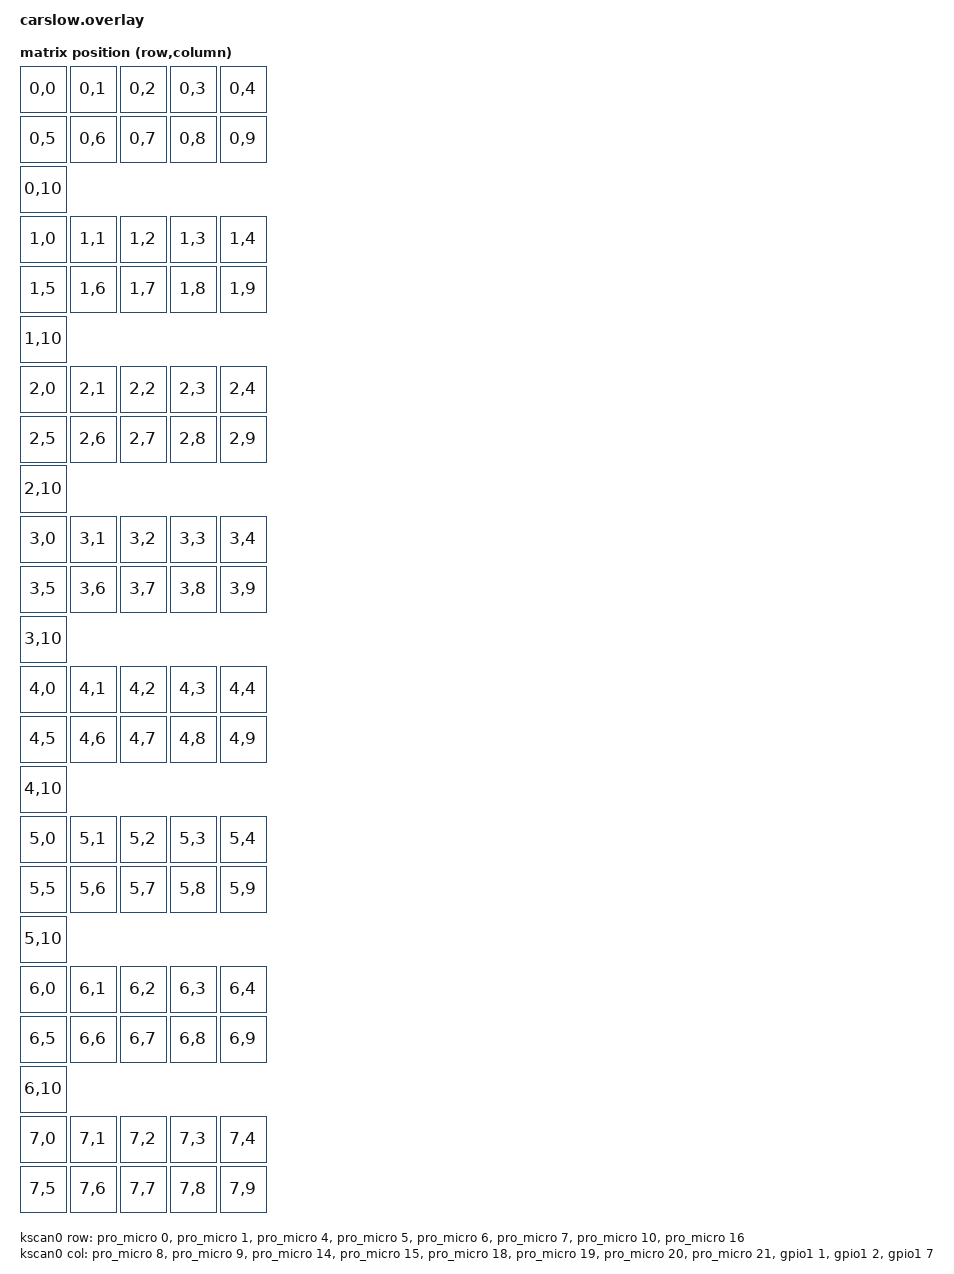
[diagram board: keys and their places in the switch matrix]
#include <dt-bindings/zmk/matrix_transform.h>
#include "carslow-layouts.dtsi"

/ {
    chosen {
        zmk,kscan = &kscan0;
        zmk,physical-layout = &physical_layout0;
    };

    kscan0: kscan {
        compatible = "zmk,kscan-gpio-matrix";

        wakeup-source;

        /*
         * ROW -> SWITCH -> DIODE -> COLUMN
         *
         * Para 1N4148:
         * faixa do diodo (catodo) voltada para a COLUMN.
         */
        diode-direction = "row2col";

        /*
         * ROWS
         *
         * Outputs da matriz.
         *
         * R0 = D0  / P0.08
         * R1 = D1  / P0.06
         * R2 = D4  / P0.22
         * R3 = D5  / P0.24
         * R4 = D6  / P1.00
         * R5 = D7  / P0.11
         * R6 = D10 / P0.09
         * R7 = D16 / P0.10
         */
        row-gpios
            = <&pro_micro 0  GPIO_ACTIVE_HIGH>
            , <&pro_micro 1  GPIO_ACTIVE_HIGH>
            , <&pro_micro 4  GPIO_ACTIVE_HIGH>
            , <&pro_micro 5  GPIO_ACTIVE_HIGH>
            , <&pro_micro 6  GPIO_ACTIVE_HIGH>
            , <&pro_micro 7  GPIO_ACTIVE_HIGH>
            , <&pro_micro 10 GPIO_ACTIVE_HIGH>
            , <&pro_micro 16 GPIO_ACTIVE_HIGH>
            ;

        /*
         * COLUMNS
         *
         * Inputs da matriz com pull-down.
         *
         * C0  = D8    / P1.04
         * C1  = D9    / P1.06
         * C2  = D14   / P1.11
         * C3  = D15   / P1.13
         * C4  = D18   / P1.15
         * C5  = D19   / P0.02
         * C6  = D20   / P0.29
         * C7  = D21   / P0.31
         * C8  = P1.01 / pad extra
         * C9  = P1.02 / pad extra
         * C10 = P1.07 / pad extra
         */
        col-gpios
            = <&pro_micro 8  (GPIO_ACTIVE_HIGH | GPIO_PULL_DOWN)>
            , <&pro_micro 9  (GPIO_ACTIVE_HIGH | GPIO_PULL_DOWN)>
            , <&pro_micro 14 (GPIO_ACTIVE_HIGH | GPIO_PULL_DOWN)>
            , <&pro_micro 15 (GPIO_ACTIVE_HIGH | GPIO_PULL_DOWN)>
            , <&pro_micro 18 (GPIO_ACTIVE_HIGH | GPIO_PULL_DOWN)>
            , <&pro_micro 19 (GPIO_ACTIVE_HIGH | GPIO_PULL_DOWN)>
            , <&pro_micro 20 (GPIO_ACTIVE_HIGH | GPIO_PULL_DOWN)>
            , <&pro_micro 21 (GPIO_ACTIVE_HIGH | GPIO_PULL_DOWN)>
            , <&gpio1 1      (GPIO_ACTIVE_HIGH | GPIO_PULL_DOWN)>
            , <&gpio1 2      (GPIO_ACTIVE_HIGH | GPIO_PULL_DOWN)>
            , <&gpio1 7      (GPIO_ACTIVE_HIGH | GPIO_PULL_DOWN)>
            ;
    };

    /*
     * A matriz elétrica possui:
     *
     *   8 rows × 11 columns = 88 posições
     *
     * Somente 87 posições são utilizadas.
     * RC(7,10) não existe fisicamente.
     *
     * A ordem deste map deve ser exatamente igual à ordem:
     *
     *   physical_layout0.keys
     *   carslow.keymap bindings
     */
    default_transform: keymap_transform {
        compatible = "zmk,matrix-transform";

        rows = <8>;
        columns = <11>;

        map = <
            /* 00..10 */
            RC(0,0) RC(0,1) RC(0,2) RC(0,3) RC(0,4)
            RC(0,5) RC(0,6) RC(0,7) RC(0,8) RC(0,9)
            RC(0,10)

            /* 11..21 */
            RC(1,0) RC(1,1) RC(1,2) RC(1,3) RC(1,4)
            RC(1,5) RC(1,6) RC(1,7) RC(1,8) RC(1,9)
            RC(1,10)

            /* 22..32 */
            RC(2,0) RC(2,1) RC(2,2) RC(2,3) RC(2,4)
            RC(2,5) RC(2,6) RC(2,7) RC(2,8) RC(2,9)
            RC(2,10)

            /* 33..43 */
            RC(3,0) RC(3,1) RC(3,2) RC(3,3) RC(3,4)
            RC(3,5) RC(3,6) RC(3,7) RC(3,8) RC(3,9)
            RC(3,10)

            /* 44..54 */
            RC(4,0) RC(4,1) RC(4,2) RC(4,3) RC(4,4)
            RC(4,5) RC(4,6) RC(4,7) RC(4,8) RC(4,9)
            RC(4,10)

            /* 55..65 */
            RC(5,0) RC(5,1) RC(5,2) RC(5,3) RC(5,4)
            RC(5,5) RC(5,6) RC(5,7) RC(5,8) RC(5,9)
            RC(5,10)

            /* 66..76 */
            RC(6,0) RC(6,1) RC(6,2) RC(6,3) RC(6,4)
            RC(6,5) RC(6,6) RC(6,7) RC(6,8) RC(6,9)
            RC(6,10)

            /* 77..86 */
            RC(7,0) RC(7,1) RC(7,2) RC(7,3) RC(7,4)
            RC(7,5) RC(7,6) RC(7,7) RC(7,8) RC(7,9)
        >;
    };
};

/*
 * physical_layout0 é DECLARADO em carslow-layouts.dtsi.
 *
 * Aqui apenas ligamos esse layout físico ao matrix transform
 * usado pela matriz elétrica do CarSlow.
 */
&physical_layout0 {
    transform = <&default_transform>;
};
